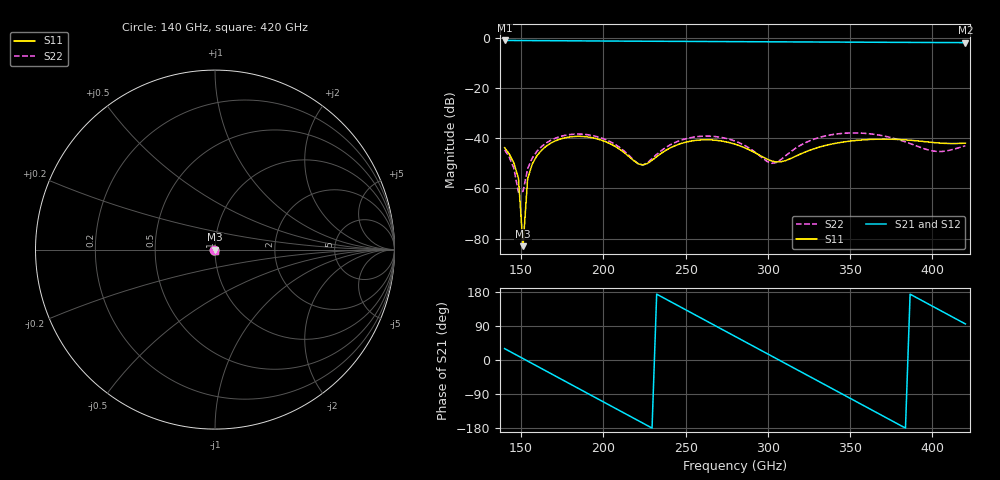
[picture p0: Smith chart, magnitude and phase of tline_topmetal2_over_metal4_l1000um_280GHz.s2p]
#  GHZ S DB R 50
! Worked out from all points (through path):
!   101 points, 140 GHz to 420 GHz, reference 50 ohm
!   highest |S21| = -0.93 dB at 140 GHz (marker M1); lowest = -1.8 dB at 420 GHz (marker M2)
!   group delay of S21, straight-line fit = 6.5 ps
!   lowest |S11| = -83.0 dB at 151.2 GHz (marker M3), VSWR 1.00, Z = 50 - j0.00636 ohm
!   |S11| at or under -10 dB: start of sweep to end of sweep
!   |S22| runs from -61.5 to -37.9 dB; largest |S21 - S12| = 1e-13
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140  -43.73 -133.6  -0.93 30.0  -0.93 30.0  -44.57 -132.9
145.6  -49.79 -146.9  -0.95 16.9  -0.95 16.9  -51.95 -144.2
148.4  -55.90 -152.7  -0.96 10.3  -0.96 10.3  -61.47 -142.2
151.2  -83.05 -64.7  -0.97 3.8  -0.97 3.8  -61.17 4.2
154  -56.06 8.0  -0.98 -2.8  -0.98 -2.8  -52.11 5.5
159.6  -46.99 -4.8  -1.00 -15.9  -1.00 -15.9  -45.21 -6.4
170.8  -41.03 -33.8  -1.04 -42.2  -1.04 -42.2  -39.94 -34.7
187.6  -39.27 -79.9  -1.10 -81.5  -1.10 -81.5  -38.36 -80.0
204.4  -42.25 -131.9  -1.17 -120.8  -1.17 -120.8  -41.41 -130.9
224  -50.64 107.8  -1.23 -166.6  -1.23 -166.6  -50.63 104.7
235.2  -45.97 24.9  -1.26 167.2  -1.26 167.2  -44.90 20.3
257.6  -40.72 -57.6  -1.33 114.8  -1.33 114.8  -39.28 -58.2
268.8  -40.80 -94.9  -1.37 88.6  -1.37 88.6  -39.35 -93.4
280  -42.34 -135.0  -1.40 62.4  -1.40 62.4  -41.09 -130.9
302.4  -49.07 106.4  -1.47 10.1  -1.47 10.1  -49.98 97.5
313.6  -48.14 20.9  -1.50 -16.1  -1.50 -16.1  -45.45 6.6
327.6  -44.25 -53.9  -1.54 -48.8  -1.54 -48.8  -40.43 -53.2
350  -41.10 -148.2  -1.60 -101.2  -1.60 -101.2  -37.87 -130.5
375.2  -40.35 109.8  -1.68 -160.1  -1.68 -160.1  -39.77 139.1
394.8  -41.29 25.8  -1.73 154.1  -1.73 154.1  -44.10 47.0
408.8  -42.04 -41.5  -1.77 121.3  -1.77 121.3  -44.98 -42.6
420  -41.90 -97.3  -1.79 95.1  -1.79 95.1  -42.95 -104.4
